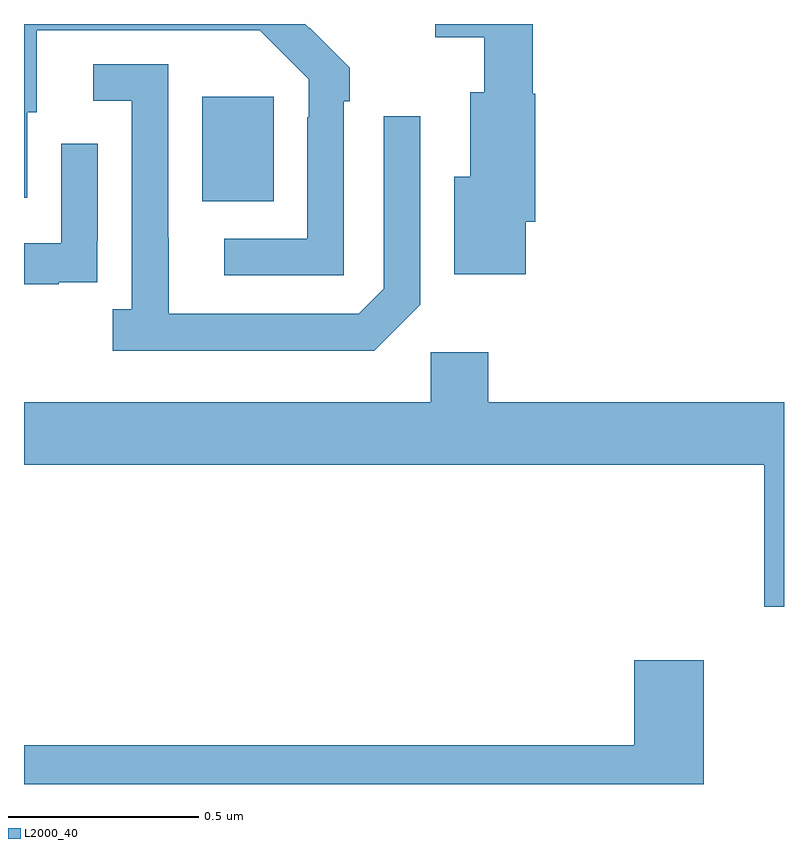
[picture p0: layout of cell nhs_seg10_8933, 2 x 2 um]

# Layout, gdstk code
import gdstk
lib = gdstk.Library(unit=1e-6, precision=1e-09)
def R(c, l, rs):  # rectangles x0, y0, x1, y1
    for r in rs: c.add(gdstk.rectangle(r[:2], r[2:], *l))
def P(c, l, *ps):  # polygons
    for p in ps: c.add(gdstk.Polygon(p, *l))
L2000_40 = (2000, 40)

nhs_seg10_8933 = lib.new_cell('nhs_seg10_8933')
R(nhs_seg10_8933, L2000_40, [(223.469,1277.033,223.657,1277.308)])
P(nhs_seg10_8933, L2000_40, [(223.842,1277.297),(223.857,1277.297),(223.857,1277.385),(223.752,1277.49),(223.751,1277.489),(223.74,1277.5),(223,1277.5),(223,1277.043),(223.009,1277.043),(223.009,1277.268),(223.033,1277.268),(223.033,1277.484),(223.621,1277.484),(223.749,1277.355),(223.749,1277.255),(223.746,1277.255),(223.746,1276.935),(223.527,1276.935),(223.527,1276.839),(223.842,1276.839)],
  [(224.32,1276.98),(224.345,1276.98),(224.345,1277.316),(224.339,1277.316),(224.339,1277.5),(224.082,1277.5),(224.082,1277.465),(224.211,1277.465),(224.211,1277.32),(224.174,1277.32),(224.174,1277.098),(224.132,1277.098),(224.132,1276.841),(224.32,1276.841)],
  [(224.043,1276.761),(224.043,1277.257),(223.947,1277.257),(223.947,1276.803),(223.881,1276.737),(223.381,1276.737),(223.381,1276.937),(223.38,1276.937),(223.38,1277.394),(223.182,1277.394),(223.182,1277.298),(223.284,1277.298),(223.284,1276.75),(223.233,1276.75),(223.233,1276.64),(223.922,1276.64)],
  [(223.091,1276.821),(223.193,1276.821),(223.193,1276.93),(223.194,1276.93),(223.194,1277.185),(223.098,1277.185),(223.098,1276.923),(223,1276.923),(223,1276.815),(223.091,1276.815)],
  [(225,1276.504),(224.222,1276.504),(224.222,1276.636),(224.07,1276.636),(224.07,1276.504),(223,1276.504),(223,1276.34),(224.948,1276.34),(224.948,1275.966),(225,1275.966)],
  [(224.789,1275.826),(224.606,1275.826),(224.606,1275.602),(223,1275.602),(223,1275.5),(224.789,1275.5)])

lib.write_gds('nhs_seg10_8933.gds')
